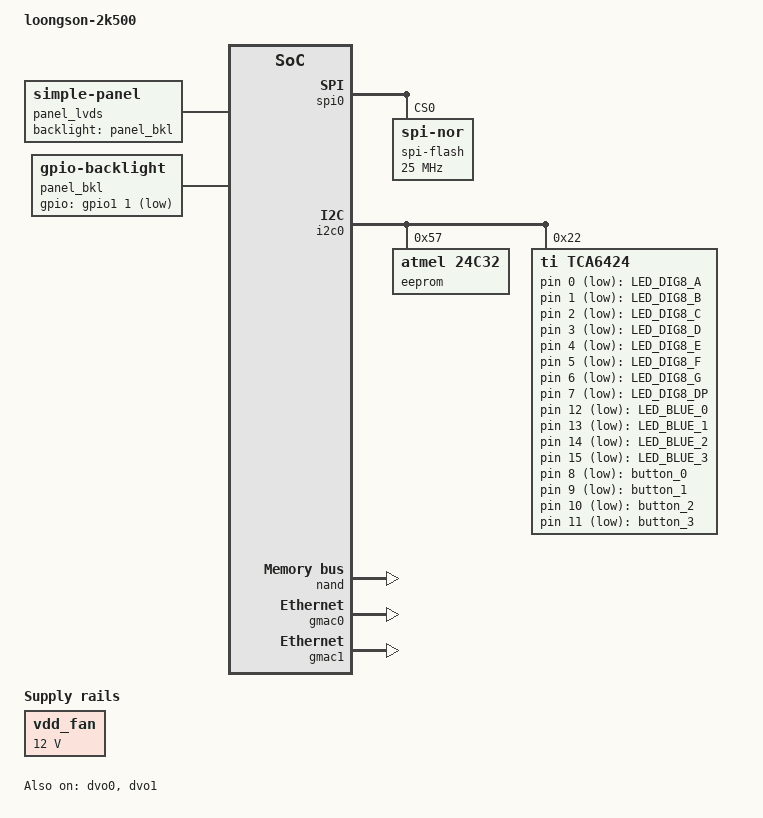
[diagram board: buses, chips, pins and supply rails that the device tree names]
#include "ls2k500.dtsi"
#include <dt-bindings/gpio/gpio.h>
#include <dt-bindings/power-domain/ls2k500-power-domain.h>

/ {
	model = "loongson-2k500";

	chosen {
		stdout-path = "serial2:115200n8";
		bootargs = "earlycon";
	};

	sysinfo-smbios {
		compatible = "u-boot,sysinfo-smbios";
		u-boot,dm-pre-reloc;

		smbios {
			system {
				manufacturer = "Loongson";
				product = "LS2K500";
			};

			baseboard {
				manufacturer = "Loongson";
				product = "LS2K500-HL-MB";
			};

			chassis {
				manufacturer = "Loongson";
				product = "LS2K500-HL-MB";
			};
		};
	};

	memory {
		name = "memory";
		device_type = "memory";
		reg =  <0x90000000 0x00000000 0 0x10000000
			0x90000000 0x90000000 0 0x30000000>;
		u-boot,dm-pre-reloc;
	};

	reserved-memory {
		#address-cells = <2>;
		#size-cells = <2>;
		ranges;

		bootparam: bootparam_region {
			reg = <0x90000000 0x0f000000 0x0 0x1000000>;
			no-map;
		};
	};

	mc0: ram@0 {
		compatible = "loongson,ls2k500-ddr";
		u-boot,dm-pre-reloc;

		soc-config-reg = <0x1fe10100>;
		mc-disable-offs = <11>;
		mc-default-offs = <12>;

		sdram-type = "ddr3";	// ddr2/ddr3
		dimm-type = "udimm";	// rdimm/udimm/sodimm

		cs-map = <0x1>;		// bit map: 	bit0 -- cs0
					// 		bit1 -- cs1
					//		bit2 -- cs2
					//		bit3 -- cs3

		data-width = <32>;	// 16/32/64
		sdram-width = <16>;	// 8/16
		sdram-banks = <8>;	// 2/4/8
		sdram-rows = <15>;
		sdram-cols = <10>;

		clk-latency = <0x20>; // 300MHz 0x10 400MHz 0x20
		rd-latency = <0x7>; // 300MHz 0xc 400MHz 0x7
		wr-latency = <0x4>; // 300MHz 0x3 400MHz 0x4
		cmd-timing-mode = <1>;	// 0: 1T mode; 1(default): 2T mode; 2: 3T mode.

		// To enable the feature below, uncomment it.
		/* ecc-enable; */
		/* addr-mirror; */
		/* multi-channel; */
		/* reset-revert; */
	};

	leds {
		compatible = "gpio-leds";

		LED_DIG8_A {
			label = "LED_DIG8_A";
			gpios = <&tca6424 0 GPIO_ACTIVE_LOW>;
			default-state = "on";
		};

		LED_DIG8_B {
			label = "LED_DIG8_B";
			gpios = <&tca6424 1 GPIO_ACTIVE_LOW>;
			default-state = "on";
		};

		LED_DIG8_C {
			label = "LED_DIG8_C";
			gpios = <&tca6424 2 GPIO_ACTIVE_LOW>;
			default-state = "on";
		};

		LED_DIG8_D {
			label = "LED_DIG8_D";
			gpios = <&tca6424 3 GPIO_ACTIVE_LOW>;
			default-state = "on";
		};

		LED_DIG8_E {
			label = "LED_DIG8_E";
			gpios = <&tca6424 4 GPIO_ACTIVE_LOW>;
			default-state = "on";
		};

		LED_DIG8_F {
			label = "LED_DIG8_F";
			gpios = <&tca6424 5 GPIO_ACTIVE_LOW>;
			default-state = "on";
		};

		LED_DIG8_G {
			label = "LED_DIG8_G";
			gpios = <&tca6424 6 GPIO_ACTIVE_LOW>;
			default-state = "on";
		};

		LED_DIG8_DP {
			label = "LED_DIG8_DP";
			gpios = <&tca6424 7 GPIO_ACTIVE_LOW>;
			default-state = "on";
		};

		LED_BLUE_0 {
			label = "LED_BLUE_0";
			gpios = <&tca6424 12 GPIO_ACTIVE_LOW>;
			default-state = "on";
		};

		LED_BLUE_1 {
			label = "LED_BLUE_1";
			gpios = <&tca6424 13 GPIO_ACTIVE_LOW>;
			default-state = "on";
		};

		LED_BLUE_2 {
			label = "LED_BLUE_2";
			gpios = <&tca6424 14 GPIO_ACTIVE_LOW>;
			default-state = "on";
		};

		LED_BLUE_3 {
			label = "LED_BLUE_3";
			gpios = <&tca6424 15 GPIO_ACTIVE_LOW>;
			default-state = "on";
		};
	};

	vdd_fan: regulator-fan{
		compatible = "regulator-gpio";
		regulator-name = "vdd-fan";
		regulator-min-microvolt = <0>;
		regulator-max-microvolt = <12000000>;
		regulator-init-microvolt = <12000000>;
		regulator-type = "voltage";
		regulator-boot-on;
		regulator-always-on;
		enable-active-high;
		states = <0 0x0 12000000 0x1>;
		gpios = <&tca6424 16 GPIO_ACTIVE_HIGH>;
	};

	buttons {
		compatible = "gpio-keys";

		button_0 {
			label = "button_0";
			gpios = <&tca6424 8 GPIO_ACTIVE_LOW>;
		};

		button_1 {
			label = "button_1";
			gpios = <&tca6424 9 GPIO_ACTIVE_LOW>;
		};

		button_2 {
			label = "button_2";
			gpios = <&tca6424 10 GPIO_ACTIVE_LOW>;
		};

		button_3 {
			label = "button_3";
			gpios = <&tca6424 11 GPIO_ACTIVE_LOW>;
		};
	};

	panel_lvds: panel-lvds {
		compatible = "simple-panel";
		backlight = <&panel_bkl>;

		display-timings {
			native-mode = <&timing0>;

			timing0: 1028x800p32 {
				clock-frequency = <71000000>;
				hactive = <1280>;
				vactive = <800>;
				hsync-len = <32>;
				hfront-porch = <8>;
				hback-porch = <10>;
				vfront-porch = <3>;
				vback-porch = <3>;
				vsync-len = <6>;
				de-active = <1>;
				hsync-active = <0>;
				vsync-active = <0>;
				pixelclk-active = <0>;
			};
		};
	};

#if 0
	panel_bkl: pwm-bkl {
		compatible = "pwm-backlight";
		pwms = <&pwm2 0 5000000>;

		brightness-levels = <0 4 8 16 32 64 128 256 511>;
		default-brightness-level = <8>;

		enable-gpios = <&gpio1 1 GPIO_ACTIVE_HIGH>;
	};
#else
	panel_bkl: backlight {
		compatible = "gpio-backlight";
		gpios = <&gpio1 1 GPIO_ACTIVE_LOW>;
		// default-on;
	};
#endif

};

&spi0 {
	status = "okay";

	spi-flash@0 {
		compatible = "jedec,spi-nor";
		spi-max-frequency = <25000000>; /* input clock */
		reg = <0>; /* CS0 */
		u-boot,dm-pre-reloc;
	};
};

&i2c0 {
    status = "okay";

    eeprom@57 {
        compatible = "atmel,24c32";
        reg = <0x57>;
        pagesize = <32>;
    };

	tca6424: gpio@22 {
		compatible = "ti,tca6424";
		reg = <0x22>;
		gpio-controller;
		#gpio-cells = <2>;
		interrupt-parent = <&extioiic>;
		interrupts = <22>;
	};
};

&nand {
	status = "okay";
};

&gmac0 {
	status = "okay";
	max-speed = <100>;
};

&gmac1 {
	status = "okay";
	max-speed = <100>;
};

&dvo0 {
	status = "okay";
	connector-type = "panel";	// panel, vga, hdmi
	connector = <&panel_lvds>;
	pix-fmt = "rgb565";
};

&dvo1 {
	status = "okay";
	connector-type = "vga";		// panel, vga, hdmi
	pix-fmt = "rgb565";
};

&dpm {
	domain_pci {
		offset = <LS2K500_DPM_PCI>;
		mask = <0x30>;
		value = <LS2K500_DPM_TGT_CLKOFF>;
		dpm_en = <0x1>;
	};
	domain_gpu {
		offset = <LS2K500_DPM_GPU>;
		mask = <0x300>;
		value = <LS2K500_DPM_TGT_POWEROFF>;
		dpm_en = <0x1>;
	};
	domain_print {
		offset = <LS2K500_DPM_PRINT>;
		mask = <0x3000000>;
		value = <LS2K500_DPM_TGT_CLKOFF>;
		dpm_en = <0x1>;
	};
};
